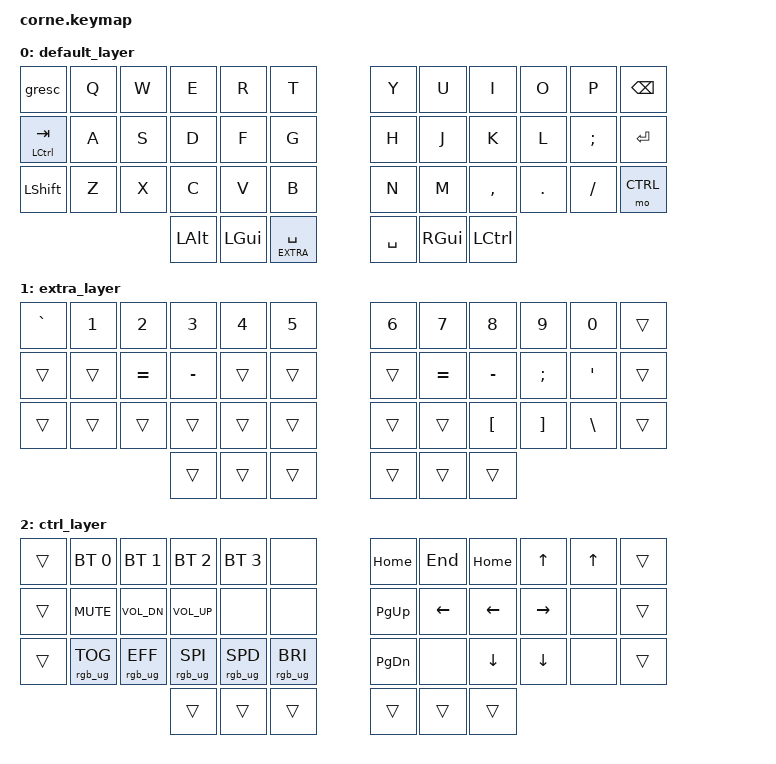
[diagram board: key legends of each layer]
/*
 * Copyright (c) 2020 The ZMK Contributors
 *
 * SPDX-License-Identifier: MIT
 */

#include <behaviors.dtsi>
#include <dt-bindings/zmk/bt.h>
#include <dt-bindings/zmk/keys.h>
#include <dt-bindings/zmk/outputs.h>
#include <dt-bindings/zmk/rgb.h>

#define DEFAULT 0
#define EXTRA   1
#define CTRL    2

/ {
    // combos {
    //     compatible = "zmk,combos";
    //
    //     lang {
    //         bindings = <&kp LG(SPACE)>;
    //         key-positions = <17 18>;
    //     };
    //
    //     hyper {
    //         bindings = <&kp LS(LA(LC(LGUI)))>;
    //         key-positions = <37 40>;
    //     };
    // };

    keymap {
        compatible = "zmk,keymap";

        default_layer {
            bindings = <
&gresc         &kp Q  &kp W  &kp E      &kp R     &kp T            &kp Y     &kp U    &kp I      &kp O    &kp P     &kp BSPC
&mt LCTRL TAB  &kp A  &kp S  &kp D      &kp F     &kp G            &kp H     &kp J    &kp K      &kp L    &kp SEMI  &kp RET
&kp LSHFT      &kp Z  &kp X  &kp C      &kp V     &kp B            &kp N     &kp M    &kp COMMA  &kp DOT  &kp FSLH  &mo CTRL
                             &kp LALT   &kp LGUI  &lt EXTRA SPACE  &kp SPACE &kp RGUI &kp LCTRL
            >;
        };

        extra_layer {
            bindings = <
&kp GRAVE  &kp N1  &kp N2    &kp N3     &kp N4  &kp N5  &kp N6     &kp N7     &kp N8    &kp N9    &kp N0   &trans
&trans     &trans  &kp EQUAL &kp MINUS  &trans  &trans  &trans     &kp EQUAL  &kp MINUS &kp SEMI  &kp SQT  &trans
&trans     &trans  &trans    &trans     &trans  &trans  &trans     &trans     &kp LBKT  &kp RBKT  &kp BSLH &trans    
                             &trans     &trans  &trans  &trans     &trans     &trans
            >;
        };


        ctrl_layer {
            bindings = <
&trans  &bt BT_SEL 0     &bt BT_SEL 1     &bt BT_SEL 2     &bt BT_SEL 3     &none              &kp HOME         &kp END    &kp HOME   &kp UP     &kp UP  &trans
&trans  &kp K_MUTE       &kp C_VOL_DN     &kp C_VOL_UP     &none            &none              &kp PG_UP        &kp LEFT   &kp LEFT   &kp RIGHT  &none   &trans
&trans  &rgb_ug RGB_TOG  &rgb_ug RGB_EFF  &rgb_ug RGB_SPI  &rgb_ug RGB_SPD  &rgb_ug RGB_BRI    &kp PG_DN        &none      &kp DOWN   &kp DOWN   &none  &trans 
                                          &trans           &trans           &trans             &trans           &trans     &trans
            >;
        };

    };
};
